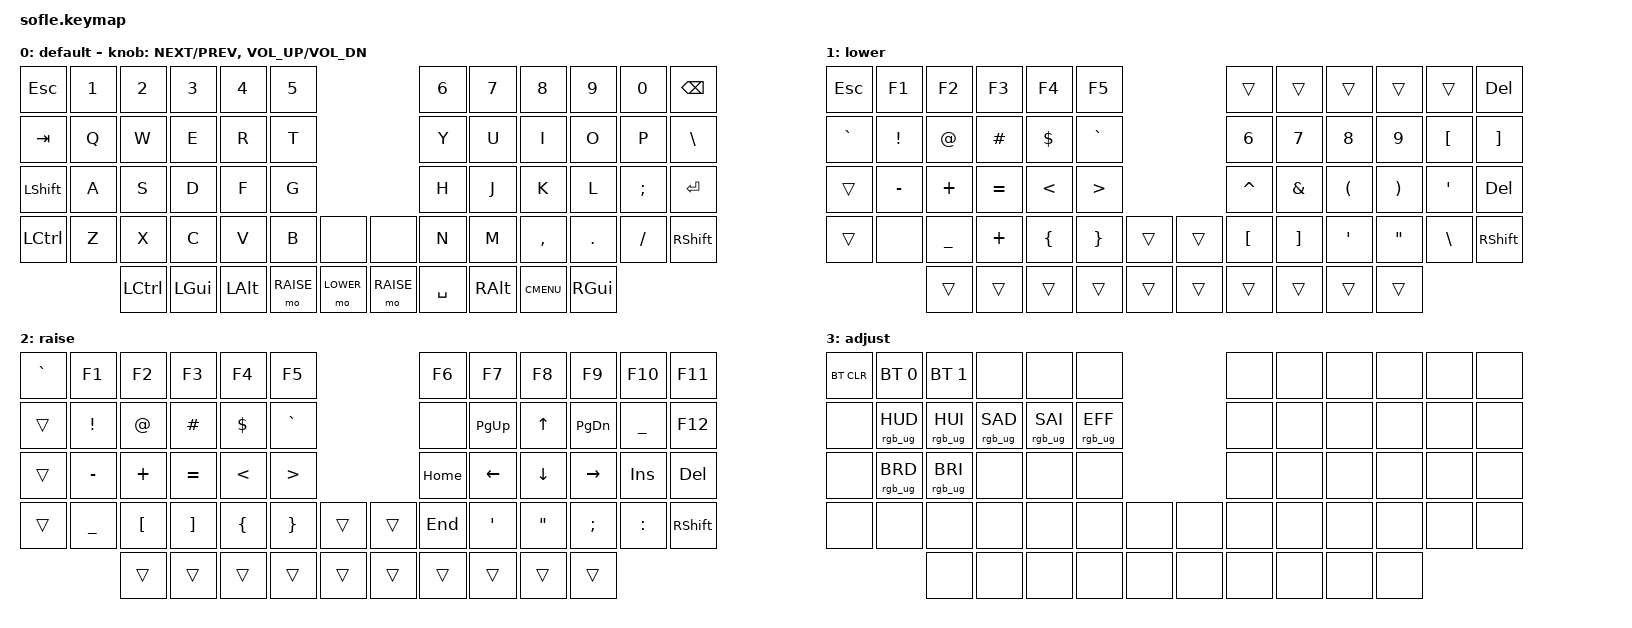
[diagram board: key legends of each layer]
/*
 * Copyright (c) 2020 The ZMK Contributors
 *
 * SPDX-License-Identifier: MIT
 * https://zmk.dev/docs/keymaps/list-of-keycodes
 * https://github.com/EvgeniyCig/zmk/actions
 */

#include <behaviors.dtsi>
#include <dt-bindings/zmk/bt.h>
#include <dt-bindings/zmk/ext_power.h>
#include <dt-bindings/zmk/keys.h>
#include <dt-bindings/zmk/rgb.h>
#include <dt-bindings/zmk/mouse.h>

#define BASE 0
#define LOWER 1
#define RAISE 2
#define ADJUST 3


/ {
    // Activate ADJUST layer by pressing raise and lower
	studio_unlock;

    conditional_layers {
        compatible = "zmk,conditional-layers";

        adjust_layer {
            if-layers = <LOWER RAISE>;
            then-layer = <ADJUST>;
        };
    };

    combos { compatible = "zmk,combos"; };

    behaviors {
        rot_kp: sensor_rotate_kp {
            compatible = "zmk,behavior-sensor-rotate-var";
            #sensor-binding-cells = <2>;
            bindings = <&kp>, <&kp>;
        };
    };	

    keymap {
        compatible = "zmk,keymap";

        default_layer {
            display-name = "default";
            bindings = <
&kp ESC     &kp N1    &kp N2     &kp N3     &kp N4       &kp N5                                   &kp N6       &kp N7       &kp N8        &kp N9    &kp N0     &kp BACKSPACE
&kp TAB     &kp Q     &kp W      &kp E      &kp R        &kp T                                    &kp Y        &kp U        &kp I         &kp O     &kp P      &kp BSLH
&kp LSHFT   &kp A     &kp S      &kp D      &kp F        &kp G                                    &kp H        &kp J        &kp K         &kp L     &kp SEMI   &kp RET
&kp LCTRL   &kp Z     &kp X      &kp C      &kp V        &kp B       &none           &none        &kp N        &kp M        &kp COMMA     &kp DOT   &kp FSLH   &kp RSHFT
                      &kp LCTRL  &kp LGUI   &kp LALT     &mo RAISE   &mo LOWER       &mo RAISE    &kp SPACE    &kp RALT     &kp K_CMENU   &kp RGUI	
            >;
			
            sensor-bindings =
                <&rot_kp C_NEXT C_PREV>,
                <&rot_kp C_VOL_UP C_VOL_DN>;
        };
		
        lower_layer {
            display-name = "lower";
            bindings = <
&kp ESC     &kp F1          &kp F2          &kp F3        &kp F4        &kp F5                          &trans     &trans    &trans     &trans     &trans    &kp DEL
&kp GRAVE   &kp EXCL        &kp AT          &kp HASH      &kp DLLR      &kp GRAVE                       &kp N6     &kp N7    &kp N8     &kp N9     &kp LBKT  &kp RBKT
&trans      &kp MINUS       &kp PLUS        &kp EQUAL     &kp LT        &kp GT                          &kp CARET  &kp AMPS  &kp LPAR   &kp RPAR   &kp SQT   &kp DEL
&trans      &none           &kp UNDERSCORE  &kp PLUS      &kp LBRC      &kp RBRC      &trans    &trans  &kp LBKT   &kp RBKT  &kp SQT    &kp DQT    &kp BSLH  &kp RSHFT
                            &trans          &trans        &trans        &trans        &trans    &trans  &trans     &trans    &trans     &trans
            >;
			
        };

        raise_layer {
            display-name = "raise";
            bindings = <
&kp GRAVE   &kp F1          &kp F2        &kp F3        &kp F4        &kp F5                            &kp F6      &kp F7         &kp F8        &kp F9       &kp F10         &kp F11
&trans      &kp EXCL        &kp AT        &kp HASH      &kp DLLR      &kp GRAVE                         &none       &kp PG_UP      &kp UP        &kp PG_DN    &kp UNDER       &kp F12
&trans      &kp MINUS       &kp PLUS      &kp EQUAL     &kp LT        &kp GT                            &kp HOME    &kp LEFT       &kp DOWN      &kp RIGHT    &kp INS         &kp DEL
&trans      &kp UNDER       &kp LBKT      &kp RBKT      &kp LBRC      &kp RBRC        &trans    &trans  &kp END     &kp SQT        &kp DQT       &kp SEMI     &kp COLON       &kp RSHFT
                            &trans        &trans        &trans        &trans          &trans    &trans  &trans      &trans         &trans        &trans
            >;
			
        };

        adjust_layer {
            display-name = "adjust";
            bindings = <
&bt BT_CLR  	   &bt BT_SEL 0     &bt BT_SEL 1     &none            &none            &none                            &none  &none  &none  &none  &none  &none
&none              &rgb_ug RGB_HUD  &rgb_ug RGB_HUI  &rgb_ug RGB_SAD  &rgb_ug RGB_SAI  &rgb_ug RGB_EFF                  &none  &none  &none  &none  &none  &none
&none              &rgb_ug RGB_BRD  &rgb_ug RGB_BRI  &none            &none            &none                            &none  &none  &none  &none  &none  &none
&none              &none            &none            &none            &none            &none            &none    &none  &none  &none  &none  &none  &none  &none
                                    &none            &none            &none            &none            &none    &none  &none  &none  &none  &none
            >;
        };
    };
};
